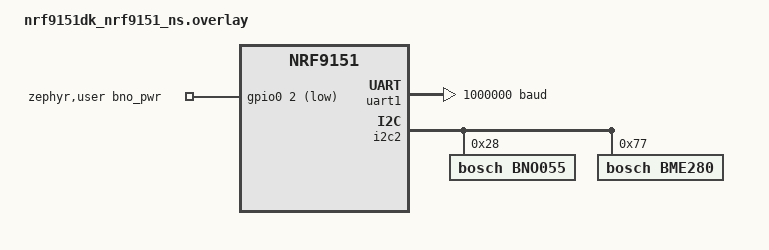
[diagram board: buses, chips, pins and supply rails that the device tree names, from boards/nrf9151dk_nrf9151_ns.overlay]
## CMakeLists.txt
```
#
# Copyright (c) 2020 Nordic Semiconductor
#
# SPDX-License-Identifier: LicenseRef-Nordic-5-Clause
#

cmake_minimum_required(VERSION 3.20.0)

find_package(Zephyr REQUIRED HINTS $ENV{ZEPHYR_BASE})
project(aws_iot)

# ================= APP sources ==================
target_sources(app PRIVATE src/main.c)
target_sources(app PRIVATE src/sensor/sensor.c)
target_sources(app PRIVATE src/json_payload/json_payload.c)
target_sources(app PRIVATE src/horse_payload/horse_payload.c)
target_sources(app PRIVATE src/cert_provision.c)
target_sources(app PRIVATE src/sensor/horse_balance.c)

# ================= GNSS =========================
zephyr_library_sources(src/gnss/gnss_task.c)

# ================= includes ======================
zephyr_include_directories(src)
zephyr_include_directories(src/sensor)
zephyr_include_directories(src/json_payload)
zephyr_include_directories(src/horse_payload)
zephyr_include_directories(src/gnss)

zephyr_library_sources_ifdef(CONFIG_GNSS_SAMPLE_ASSISTANCE_MINIMAL src/gnss/assistance_minimal.c)
zephyr_library_sources_ifdef(CONFIG_GNSS_SAMPLE_ASSISTANCE_MINIMAL src/gnss/mcc_location_table.c)
```

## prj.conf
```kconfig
########################
# General
########################
CONFIG_LOG=y
CONFIG_LOG_BUFFER_SIZE=2048
CONFIG_HW_ID_LIBRARY=y
CONFIG_ASSERT=y
CONFIG_JSON_LIBRARY=y
CONFIG_REBOOT=y

CONFIG_STDOUT_CONSOLE=y
CONFIG_UART_INTERRUPT_DRIVEN=y
CONFIG_PICOLIBC_IO_FLOAT=y
CONFIG_LOG_MODE_IMMEDIATE=y
# 日志总开关等级：0=NONE, 1=ERR, 2=WRN, 3=INF, 4=DBG
CONFIG_LOG_DEFAULT_LEVEL=3

########################
# GNSS / nRF Cloud (可选，用于 A-GNSS)
########################
# 如果后面不打算用 nRF Cloud A-GNSS，也可以把这一行改成 n
CONFIG_NRF_CLOUD=y

#CONFIG_GNSS_SAMPLE_ASSISTANCE_NRF_CLOUD=n

# Request eDRX from the network
CONFIG_LTE_LC_EDRX_MODULE=n
CONFIG_LTE_EDRX_REQ=n

# PSM requested periodic TAU 8 hours
CONFIG_LTE_LC_PSM_MODULE=n
#CONFIG_LTE_PSM_REQ_RPTAU="00101000"
# PSM requested active time 6 seconds
#CONFIG_LTE_PSM_REQ_RAT="00000011"

# AT Host library - 用于 AT 命令调试，咱们先关掉
CONFIG_AT_HOST_LIBRARY=n

########################
# Heap and stacks
########################
CONFIG_HEAP_MEM_POOL_SIZE=16384
CONFIG_MAIN_STACK_SIZE=4096
CONFIG_AT_MONITOR_HEAP_SIZE=1024
CONFIG_SYSTEM_WORKQUEUE_STACK_SIZE=4096

########################
# Network
########################
CONFIG_NETWORKING=y
CONFIG_NET_NATIVE=y
CONFIG_NET_IPV4=y
CONFIG_NET_CONNECTION_MANAGER=y

# 不启用 Zephyr 自己的软件 TLS（我们用的是 modem offload）
# 所以这里不要 CONFIG_NET_SOCKETS_SOCKOPT_TLS

########################
# AWS IoT / MQTT
########################
CONFIG_AWS_IOT=y

# 固定 client ID（也可以改用 hw_id，这里只是兜底）
CONFIG_AWS_IOT_CLIENT_ID_STATIC="device_horse"

# 你的 AWS IoT endpoint（注意和 AWS 控制台一致）
CONFIG_AWS_IOT_BROKER_HOST_NAME="aee37ebj3uql3-ats.iot.us-east-1.amazonaws.com"

# Shadow 相关 topic 订阅
CONFIG_AWS_IOT_TOPIC_UPDATE_DELTA_SUBSCRIBE=y
CONFIG_AWS_IOT_TOPIC_GET_ACCEPTED_SUBSCRIBE=y
CONFIG_AWS_IOT_TOPIC_GET_REJECTED_SUBSCRIBE=y

# sample 里用到的一些 Kconfig（避免 undefined）
CONFIG_AWS_IOT_SAMPLE_APP_VERSION="v1.0.0"
CONFIG_AWS_IOT_SAMPLE_JSON_MESSAGE_SIZE_MAX=2048
CONFIG_AWS_IOT_SAMPLE_PUBLICATION_INTERVAL_SECONDS=60
CONFIG_AWS_IOT_SAMPLE_CONNECTION_RETRY_TIMEOUT_SECONDS=10

# 使用硬件 ID 作为 device_id（配合 main.c 里的 hw_id_get）
CONFIG_AWS_IOT_SAMPLE_DEVICE_ID_USE_HW_ID=y

########################
# MQTT helper library
########################
CONFIG_MQTT_HELPER=y
CONFIG_MQTT_HELPER_SEC_TAG=201
CONFIG_MQTT_HELPER_LAST_WILL=y
CONFIG_MQTT_HELPER_STACK_SIZE=4096
CONFIG_MQTT_HELPER_PORT=8883

# Maximum MQTT keepalive timeout specified by AWS IoT Core
CONFIG_MQTT_KEEPALIVE=1200
CONFIG_MQTT_CLEAN_SESSION=y

########################
# Modem / LTE
########################

# 让 socket 走 nRF91 调制解调器（包含 TLS offload）
CONFIG_NET_SOCKETS_OFFLOAD=y

# 一些库（比如 GNSS sample）会用到 POSIX API
CONFIG_POSIX_API=y

# LTE 链路控制
CONFIG_LTE_LINK_CONTROL=y

# ⭐ 最关键：让 modem 处于 LTE-M + GNSS 模式
CONFIG_LTE_NETWORK_MODE_LTE_M_GPS=y

# 旧版本里有 CONFIG_LTE_AUTO_INIT_AND_CONNECT，现在已经被移除
# 所以这里千万不要再写 CONFIG_LTE_AUTO_INIT_AND_CONNECT=...
# 由应用代码自己调用 lte_lc_init_and_connect()

# GNSS API 在当前 SDK 里不需要单独的 CONFIG_NRF_MODEM_GNSS 选项，
# 只要上面这个 LTE_M_GPS 打开即可。
# 以前我们写过：
# CONFIG_NRF_MODEM_GNSS=y
# 但这个符号在 NCS 3.0.2 里已经不存在，会导致 Kconfig 报 undefined symbol。
# 所以这里不要再加这行！

# 关闭 modem trace，省功耗
CONFIG_NRF_MODEM_LIB_TRACE=n

########################
# PDN / APN 配置
########################
CONFIG_PDN=y
CONFIG_PDN_DEFAULTS_OVERRIDE=y
# ✅ 按你要求保留这个“错误”的拼写
CONFIG_PDN_DEFAULT_APN="onomodo"

########################
# Modem key management (证书)
########################
CONFIG_MODEM_KEY_MGMT=y

########################
# Modem info（给 shadow 里面的 modem_version 用）
########################
CONFIG_MODEM_INFO=y

########################
# Modem library 基本设置
########################
CONFIG_NRF_MODEM_LIB=y
CONFIG_AT_CMD_CUSTOM=y

# Align the max FD entry to NRF_MODEM_MAX_SOCKET_COUNT(8)
CONFIG_ZVFS_OPEN_MAX=8

# Handle modem fault
CONFIG_NRF_MODEM_LIB_ON_FAULT_APPLICATION_SPECIFIC=y

########################
# ==== OTA (MCUboot + 下载客户端) ====
########################
CONFIG_AWS_FOTA=y
CONFIG_FOTA_DOWNLOAD=y
CONFIG_DFU_TARGET=y
CONFIG_IMG_MANAGER=y
CONFIG_MCUBOOT_IMG_MANAGER=y
CONFIG_BOOTLOADER_MCUBOOT=y
CONFIG_AWS_FOTA_DOWNLOAD_SECURITY_TAG=201

########################
# Memfault OTA (NCS 3.0.2 Compatible) — 先全部关掉
########################

# CONFIG_MEMFAULT=y
# CONFIG_MEMFAULT_SDK=y
# CONFIG_MEMFAULT_NCS_USE_DEFAULTS=y
# CONFIG_MEMFAULT_HTTP=y
# CONFIG_MEMFAULT_HTTP_UPLOAD=y
# CONFIG_MEMFAULT_FOTA=y
# CONFIG_IMG_ERASE_PROGRESSIVELY=y
# CONFIG_DOWNLOAD_CLIENT=y

# 允许较大的 SSL message（Memfault 或 AWS 大 payload 时有用）
CONFIG_MBEDTLS_SSL_MAX_CONTENT_LEN=4096


#i2c
CONFIG_I2C=y
CONFIG_I2C_NRFX=y
CONFIG_SENSOR=y
CONFIG_BME280=y
CONFIG_LOG=y
CONFIG_CBPRINTF_FP_SUPPORT=y

# CONFIG_SHELL=y
# CONFIG_I2C_SHELL=y
```

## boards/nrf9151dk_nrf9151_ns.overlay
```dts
/*
 * Copyright (c) 2024 Nordic Semiconductor ASA
 *
 * SPDX-License-Identifier: LicenseRef-Nordic-5-Clause
 */

/* Enable uart1 for tracing. */
&uart1 {
	status = "okay";
	current-speed = < 1000000 >;
	hw-flow-control;
};

/ {
	chosen {
		nordic,modem-trace-uart = &uart1;
	};
};

/ {
    zephyr,user {
        /* GPIO_ACTIVE_LOW：软件写 1 = 有效，硬件脚被拉低 */
        bno_pwr_gpios = <&gpio0 2 GPIO_ACTIVE_LOW>;
    };
};


&i2c2 {
    status = "okay";

    bno055: bno055@28 {
        compatible = "bosch,bno055";
        reg = <0x28>;
        label = "BNO055";
        status = "okay";
    };

    bme280: bme280@77 {
        compatible = "bosch,bme280";
        reg = <0x77>;
        label = "BME280";
        status = "okay";
    };
};
```

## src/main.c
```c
#include <zephyr/kernel.h>
#include <zephyr/sys/reboot.h>
#include <zephyr/dfu/mcuboot.h>
#include <zephyr/logging/log.h>
#include <zephyr/logging/log_ctrl.h>
#include <zephyr/net/conn_mgr_connectivity.h>
#include <zephyr/net/conn_mgr_monitor.h>
#include <net/aws_iot.h>
#include <stdio.h>
#include <stdlib.h>
#include <string.h>

#include <hw_id.h>
#include <modem/modem_info.h>
#include <modem/nrf_modem_lib.h>
#include <modem/lte_lc.h>

#include "json_payload.h"
#include "horse_payload.h"
#include "gnss_task.h"
#include "sensor.h"

////////////////////////// FOTA //////////////////////////////////
#include <net/aws_fota.h>

LOG_MODULE_REGISTER(aws_iot_sample, CONFIG_AWS_IOT_SAMPLE_LOG_LEVEL);

/*=============================== FOTA handler ===========================*/

static void aws_fota_evt_handler(struct aws_fota_event *evt)
{
    switch (evt->id) {
    case AWS_FOTA_EVT_START:
        LOG_INF("AWS FOTA: Update started");
        break;

    case AWS_FOTA_EVT_DL_PROGRESS:
        LOG_INF("AWS FOTA: Download %d%%", evt->dl.progress);
        break;

    case AWS_FOTA_EVT_ERASE_PENDING:
        LOG_INF("AWS FOTA: Flash erase pending...");
        break;

    case AWS_FOTA_EVT_ERASE_DONE:
        LOG_INF("AWS FOTA: Flash erase complete, rebooting...");
        sys_reboot(SYS_REBOOT_COLD);
        break;

    case AWS_FOTA_EVT_DONE:
        LOG_INF("AWS FOTA: Update done (image=%d)", evt->image);
        break;

    case AWS_FOTA_EVT_ERROR:
        LOG_ERR("AWS FOTA: Error occurred");
        break;

    default:
        LOG_WRN("AWS FOTA: Unknown event %d", evt->id);
        break;
    }
}

/*=============================== parameter ==========================*/

/* 统一 horse_data 上报间隔（秒） */
#define HORSE_DATA_INTERVAL_SEC 120

/*=============================== horse_data work ==========================*/
static void horse_data_work_fn(struct k_work *work);
K_WORK_DELAYABLE_DEFINE(horse_data_work, horse_data_work_fn);

/*========================================== horse_data =======================================*/
void publish_horse_data(float temperature, float moisture, float pitch,
                        float gps_lat, float gps_lon,
                        int water_flag, int water_time)
{
    char json_buf[256];
    struct horse_payload hp;

    /* new fields */
    hp.water_flag = water_flag;
    hp.water_time = water_time;

    /* existing fields */
    hp.temperature = (int32_t)(temperature * 100.0f);
    hp.moisture    = (int32_t)(moisture * 100.0f);
    hp.pitch       = (int32_t)(pitch * 100.0f);
    hp.latitude    = (int32_t)(gps_lat * 1000000.0f);
    hp.longitude   = (int32_t)(gps_lon * 1000000.0f);

    if (horse_payload_construct(json_buf, sizeof(json_buf), &hp)) {
        printk("horse_payload_construct failed\n");
        return;
    }

    struct aws_iot_data tx = { 0 };
    tx.qos       = MQTT_QOS_1_AT_LEAST_ONCE;
    tx.ptr       = json_buf;
    tx.len       = strlen(json_buf);
    tx.topic.str = "horse_data";
    tx.topic.len = strlen(tx.topic.str);

    int err = aws_iot_send(&tx);
    if (err) {
        LOG_ERR("aws_iot_send (horse_data) failed: %d", err);
    }

    printk("horse_data sent: %s\n", json_buf);
}

/* ================= horse_data update work ================= */
static void horse_data_work_fn(struct k_work *work)
{
    ARG_UNUSED(work);

    struct gnss_status_msg msg;
    static struct gnss_status_msg last_msg = {0};

    /* 把队列里累积的数据读到最后一条 */
    int got_msg = 0;
    while (k_msgq_get(&gnss_msgq, &msg, K_NO_WAIT) == 0) {
        got_msg = 1;
    }

    /* 只有在真的从 GNSS 收到消息时才更新 last_msg；
     * 并且只在 lat/lon 非 0 时覆盖，避免把 0 覆盖掉已有的有效坐标。
     */
    if (got_msg) {
        if (msg.lat != 0.0f || msg.lon != 0.0f) {
            last_msg = msg;
        }
    }

    publish_horse_data(
        g_temperature,
        g_humidity,                          /* TODO: 替换成真实湿度 */
        g_state,                          /* TODO: 替换成真实 pitch */
        last_msg.lat,
        last_msg.lon,
        last_msg.is_water_gnss ? 1 : 0,
        (int)last_msg.total_water_s
    );

    /* 下次上报 */
    k_work_reschedule(&horse_data_work, K_SECONDS(HORSE_DATA_INTERVAL_SEC));
}

/*========================= NET / AWS 相关 =========================*/

#define L4_EVENT_MASK         (NET_EVENT_L4_CONNECTED | NET_EVENT_L4_DISCONNECTED)
#define CONN_LAYER_EVENT_MASK (NET_EVENT_CONN_IF_FATAL_ERROR)

#define MODEM_FIRMWARE_VERSION_SIZE_MAX 50

#define MY_CUSTOM_TOPIC_1 "my-custom-topic/example"
#define MY_CUSTOM_TOPIC_2 "my-custom-topic/example_2"

#define FATAL_ERROR()                             \
    LOG_ERR("Fatal error! Rebooting the device.");\
    LOG_PANIC();                                  \
    IF_ENABLED(CONFIG_REBOOT, (sys_reboot(0)))

static struct net_mgmt_event_callback l4_cb;
static struct net_mgmt_event_callback conn_cb;

static char hw_id[HW_ID_LEN];

static void shadow_update_work_fn(struct k_work *work);
static void connect_work_fn(struct k_work *work);
static void aws_iot_event_handler(const struct aws_iot_evt *const evt);

/* AWS shadow 定时上报 & 连接重试 */
static K_WORK_DELAYABLE_DEFINE(shadow_update_work, shadow_update_work_fn);
static K_WORK_DELAYABLE_DEFINE(connect_work, connect_work_fn);

/* GNSS 启动的 work，避免在 net_mgmt 线程里直接调 */
static void gnss_start_work_fn(struct k_work *work);
static K_WORK_DEFINE(gnss_start_work, gnss_start_work_fn);

/* ================= Application topics ================= */

static int app_topics_subscribe(void)
{
    int err;
    static const struct mqtt_topic topic_list[] = {
        {
            .topic.utf8 = MY_CUSTOM_TOPIC_1,
            .topic.size = sizeof(MY_CUSTOM_TOPIC_1) - 1,
            .qos = MQTT_QOS_1_AT_LEAST_ONCE,
        },
        {
            .topic.utf8 = MY_CUSTOM_TOPIC_2,
            .topic.size = sizeof(MY_CUSTOM_TOPIC_2) - 1,
            .qos = MQTT_QOS_1_AT_LEAST_ONCE,
        },
        {
            .topic.utf8 = "horse_data",
            .topic.size = sizeof("horse_data") - 1,
            .qos = MQTT_QOS_1_AT_LEAST_ONCE,
        }
    };

    err = aws_iot_application_topics_set(topic_list, ARRAY_SIZE(topic_list));
    if (err) {
        LOG_ERR("aws_iot_application_topics_set, error: %d", err);
        FATAL_ERROR();
        return err;
    }

    return 0;
}

/* ================= AWS IoT client init ================= */

static int aws_iot_client_init(void)
{
    int err;

    printk("=== aws_iot_client_init: start ===\n");

    err = aws_iot_init(aws_iot_event_handler);
    if (err) {
        LOG_ERR("AWS IoT library could not be initialized, error: %d", err);
        FATAL_ERROR();
        return err;
    }

    printk("=== aws_iot_client_init: aws_iot_init OK ===\n");

    err = app_topics_subscribe();
    if (err) {
        LOG_ERR("Adding application specific topics failed, error: %d", err);
        FATAL_ERROR();
        return err;
    }

    printk("=== aws_iot_client_init: topics subscribed OK ===\n");

    return 0;
}

/* ================= Shadow update work ================= */

static void shadow_update_work_fn(struct k_work *work)
{
    ARG_UNUSED(work);

    int err;
    char message[CONFIG_AWS_IOT_SAMPLE_JSON_MESSAGE_SIZE_MAX] = { 0 };
    struct payload payload = {
        .state.reported.uptime = k_uptime_get(),
        .state.reported.app_version = CONFIG_AWS_IOT_SAMPLE_APP_VERSION,
    };
    struct aws_iot_data tx_data = {
        .qos = MQTT_QOS_0_AT_MOST_ONCE,
        .topic.type = AWS_IOT_SHADOW_TOPIC_UPDATE,
    };

    if (IS_ENABLED(CONFIG_MODEM_INFO)) {
        char modem_version_temp[MODEM_FIRMWARE_VERSION_SIZE_MAX];

        err = modem_info_get_fw_version(modem_version_temp,
                                        ARRAY_SIZE(modem_version_temp));
        if (err) {
            LOG_ERR("modem_info_get_fw_version, error: %d", err);
            FATAL_ERROR();
            return;
        }

        payload.state.reported.modem_version = modem_version_temp;
    }

    err = json_payload_construct(message, sizeof(message), &payload);
    if (err) {
        LOG_ERR("json_payload_construct, error: %d", err);
        FATAL_ERROR();
        return;
    }

    tx_data.ptr = message;
    tx_data.len = strlen(message);

    LOG_INF("Publishing message: %s to AWS IoT shadow", message);

    err = aws_iot_send(&tx_data);
    if (err) {
        LOG_ERR("aws_iot_send, error: %d", err);
        FATAL_ERROR();
        return;
    }

    (void)k_work_reschedule(&shadow_update_work,
        K_SECONDS(CONFIG_AWS_IOT_SAMPLE_PUBLICATION_INTERVAL_SECONDS));
}

/* ================= Connect work ================= */

static void connect_work_fn(struct k_work *work)
{
    ARG_UNUSED(work);

    int err;
    const struct aws_iot_config config = {
        .client_id = hw_id,
    };

    LOG_INF("Connecting to AWS IoT (client_id: %s, host: %s, port: %d)",
        hw_id,
        CONFIG_AWS_IOT_BROKER_HOST_NAME,
#ifdef CONFIG_MQTT_HELPER_PORT
        CONFIG_MQTT_HELPER_PORT
#else
        -1
#endif
    );

    err = aws_iot_connect(&config);
    printk("=== connect_work_fn: aws_iot_connect() returned: %d ===\n", err);

    if (err == -EAGAIN) {
        LOG_INF("Connection attempt timed out, next retry in %d seconds",
            CONFIG_AWS_IOT_SAMPLE_CONNECTION_RETRY_TIMEOUT_SECONDS);

        (void)k_work_reschedule(&connect_work,
            K_SECONDS(CONFIG_AWS_IOT_SAMPLE_CONNECTION_RETRY_TIMEOUT_SECONDS));
    } else if (err) {
        LOG_ERR("aws_iot_connect, error: %d", err);
        FATAL_ERROR();
    }
}

/* ================= AWS IoT event handler ================= */

static void on_aws_iot_evt_connected(const struct aws_iot_evt *const evt)
{
    (void)k_work_cancel_delayable(&connect_work);

    if (evt->data.persistent_session) {
        LOG_WRN("Persistent session enabled, reusing subscriptions");
    }

#if defined(CONFIG_BOOTLOADER_MCUBOOT)
    boot_write_img_confirmed();
#endif

    /* 启动 shadow 上报 & horse_data 定时上报 */
    (void)k_work_reschedule(&shadow_update_work, K_NO_WAIT);
    (void)k_work_reschedule(&horse_data_work, K_SECONDS(HORSE_DATA_INTERVAL_SEC));
}

static void on_aws_iot_evt_disconnected(void)
{
    (void)k_work_cancel_delayable(&shadow_update_work);
    (void)k_work_reschedule(&connect_work, K_SECONDS(5));
}

static void aws_iot_event_handler(const struct aws_iot_evt *const evt)
{
    switch (evt->type) {
    case AWS_IOT_EVT_CONNECTING:
        LOG_INF("AWS_IOT_EVT_CONNECTING");
        break;
    case AWS_IOT_EVT_CONNECTED:
        LOG_INF("AWS_IOT_EVT_CONNECTED");
        on_aws_iot_evt_connected(evt);
        break;
    case AWS_IOT_EVT_DISCONNECTED:
        LOG_INF("AWS_IOT_EVT_DISCONNECTED");
        on_aws_iot_evt_disconnected();
        break;
    case AWS_IOT_EVT_DATA_RECEIVED:
        LOG_INF("AWS_IOT_EVT_DATA_RECEIVED");
        LOG_INF("Received: \"%.*s\" on \"%.*s\"",
            evt->data.msg.len, evt->data.msg.ptr,
            evt->data.msg.topic.len, evt->data.msg.topic.str);
        break;
    case AWS_IOT_EVT_PUBACK:
        LOG_INF("AWS_IOT_EVT_PUBACK id=%d", evt->data.message_id);
        break;
    case AWS_IOT_EVT_PINGRESP:
        LOG_INF("AWS_IOT_EVT_PINGRESP");
        break;
    case AWS_IOT_EVT_ERROR:
        LOG_INF("AWS_IOT_EVT_ERROR %d", evt->data.err);
        FATAL_ERROR();
        break;
    default:
        LOG_WRN("Unknown AWS IoT event %d", evt->type);
        break;
    }
}

/* ================= GNSS start work ================= */

static void gnss_start_work_fn(struct k_work *work)
{
    ARG_UNUSED(work);

    /* 现在 gnss_start_after_lte_ready() 是 void，内部自己打印错误或成功日志 */
    gnss_start_after_lte_ready();
}

/* ================= Network event handlers ================= */

static void l4_event_handler(struct net_mgmt_event_callback *cb,
                 uint32_t event,
                 struct net_if *iface)
{
    ARG_UNUSED(cb);
    ARG_UNUSED(iface);

    switch (event) {
    case NET_EVENT_L4_CONNECTED:
        LOG_INF("Network connectivity established");
        printk("=== L4_CONNECTED: scheduling connect_work ===\n");

        /* 不在 net_mgmt 线程里直接起 GNSS，改为提交 work，防止栈溢出 */
        k_work_submit(&gnss_start_work);

        (void)k_work_schedule(&connect_work, K_NO_WAIT);
        break;
    case NET_EVENT_L4_DISCONNECTED:
        LOG_INF("Network connectivity lost");
        break;
    default:
        return;
    }
}

static void connectivity_event_handler(struct net_mgmt_event_callback *cb,
                       uint32_t event,
                       struct net_if *iface)
{
    ARG_UNUSED(cb);
    ARG_UNUSED(iface);

    if (event == NET_EVENT_CONN_IF_FATAL_ERROR) {
        LOG_ERR("NET_EVENT_CONN_IF_FATAL_ERROR");
        FATAL_ERROR();
    }
}

/* ============================ main ============================ */

int main(void)
{
    
    LOG_INF("Sensor system started");
    sensor_init();
    int err;
    LOG_INF("Main(LTE) app starting...");

    /* Step 1: 初始化 Modem（但不启动 LTE） */
    err = nrf_modem_lib_init();
    if (err) {
        LOG_ERR("nrf_modem_lib_init failed, err %d", err);
        return err;
    }

    /* Step 2: 写 AWS 证书 (必须在 LTE 连接前) */
    extern int provision_credentials(void);
    err = provision_credentials();
    if (err) {
        LOG_ERR("provision_credentials failed: %d", err);
        FATAL_ERROR();
        return err;
    }

    /* Step 3: 初始化 GNSS Task（线程已在 K_THREAD_DEFINE 中启动） */
    err = gnss_system_init();
    if (err) {
        LOG_ERR("gnss_system_init failed: %d", err);
    }

    /* Step 4: 注册 LTE 链路事件回调 */
    net_mgmt_init_event_callback(&l4_cb, l4_event_handler, L4_EVENT_MASK);
    net_mgmt_add_event_callback(&l4_cb);

    net_mgmt_init_event_callback(&conn_cb, connectivity_event_handler,
                                 CONN_LAYER_EVENT_MASK);
    net_mgmt_add_event_callback(&conn_cb);

    printk("=== HELLDIVERS AWS MAIN, built at " __DATE__ " " __TIME__ " ===\n");
    LOG_INF("Bringing network interface up and connecting");
    printk("=== Before conn_mgr_all_if_up ===\n");

    /* Step 5: 启动 LTE (Modem 上线) */
    err = conn_mgr_all_if_up(true);
    printk("=== conn_mgr_all_if_up() returned: %d ===\n", err);
    if (err) {
        LOG_ERR("conn_mgr_all_if_up error: %d", err);
        FATAL_ERROR();
        return err;
    }

    printk("=== Before conn_mgr_all_if_connect ===\n");

    /* Step 6: 连接移动网络，成功后进入 L4_CONNECTED 事件处理 */
    err = conn_mgr_all_if_connect(true);
    printk("=== conn_mgr_all_if_connect() returned: %d ===\n", err);
    if (err) {
        LOG_ERR("conn_mgr_all_if_connect error: %d", err);
        FATAL_ERROR();
        return err;
    }

    /* Step 7: 设置 AWS Client ID */
#if defined(CONFIG_AWS_IOT_SAMPLE_CLIENT_ID_USE_HW_ID)
    err = hw_id_get(hw_id, ARRAY_SIZE(hw_id));
    printk("=== hw_id_get() returned: %d ===\n", err);
    if (err) {
        LOG_ERR("Failed to retrieve hardware ID, error: %d", err);
        FATAL_ERROR();
        return err;
    }
    LOG_INF("Hardware ID: %s", hw_id);
    printk("=== Hardware ID: %s ===\n", hw_id);
#else
    snprintf(hw_id, sizeof(hw_id), "%s", CONFIG_AWS_IOT_CLIENT_ID_STATIC);
    LOG_INF("Using static client ID as hw_id: %s", hw_id);
    printk("=== Using static client ID as hw_id: %s ===\n", hw_id);
#endif

    printk("=== Before aws_iot_client_init ===\n");

    /* Step 8: 初始化 AWS IoT（不连接） */
    err = aws_iot_client_init();
    printk("=== aws_iot_client_init() returned: %d ===\n", err);
    if (err) {
        LOG_ERR("aws_iot_client_init error: %d", err);
        FATAL_ERROR();
        return err;
    }

    /* Step 9: 如需 FOTA 可在此初始化（当前注释掉以免干扰） */
    /*
    err = aws_fota_init(aws_fota_evt_handler);
    if (err) {
        LOG_ERR("aws_fota_init failed: %d", err);
    } else {
        LOG_INF("AWS FOTA initialized");
    }
    */

    printk("=== main() finished, waiting for events ===\n");

    return 0;
}
```
